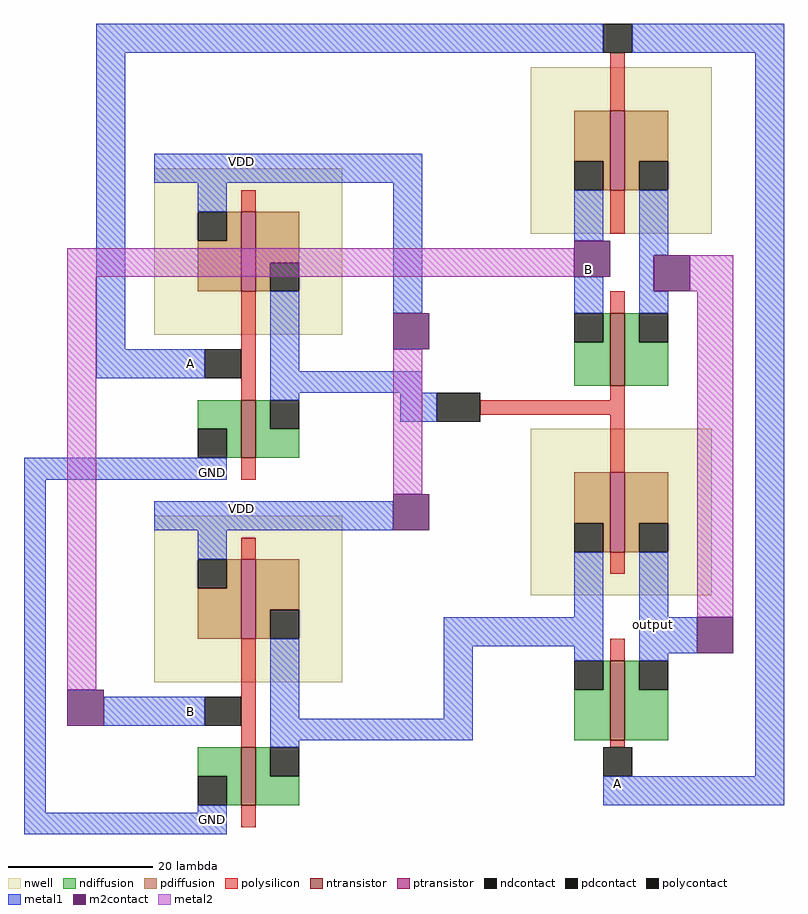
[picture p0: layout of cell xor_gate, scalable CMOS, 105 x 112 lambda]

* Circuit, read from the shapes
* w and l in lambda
.subckt xor_gate A B GND VDD output
M1 n1 B GND VSUBS nfet w=8 l=2
M2 n2 A GND VSUBS nfet w=8 l=2
M3 output A n1 VSUBS nfet w=11 l=2
M4 output n2 B VSUBS nfet w=10 l=2
M5 n1 B VDD n3 pfet w=11 l=2
M6 n2 A VDD n4 pfet w=11 l=2
M7 output n2 n1 n5 pfet w=11 l=2
M8 output A B n6 pfet w=11 l=2
.ends

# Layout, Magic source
magic
tech scmos
<< nwell >>
rect -64 -28 -38 -5
rect -12 -14 13 9
rect -64 -76 -38 -53
rect -12 -64 13 -41
<< ntransistor >>
rect -1 -35 1 -25
rect -52 -45 -50 -37
rect -1 -84 1 -73
rect -52 -93 -50 -85
<< ptransistor >>
rect -1 -8 1 3
rect -52 -22 -50 -11
rect -1 -58 1 -47
rect -52 -70 -50 -59
<< ndiffusion >>
rect -2 -29 -1 -25
rect -6 -35 -1 -29
rect 1 -29 3 -25
rect 1 -35 7 -29
rect -58 -41 -52 -37
rect -54 -45 -52 -41
rect -50 -41 -48 -37
rect -50 -45 -44 -41
rect -2 -77 -1 -73
rect -6 -84 -1 -77
rect 1 -77 3 -73
rect 1 -84 7 -77
rect -58 -89 -52 -85
rect -54 -93 -52 -89
rect -50 -89 -48 -85
rect -50 -93 -44 -89
<< pdiffusion >>
rect -6 -4 -1 3
rect -2 -8 -1 -4
rect 1 -4 7 3
rect 1 -8 3 -4
rect -54 -15 -52 -11
rect -58 -22 -52 -15
rect -50 -18 -44 -11
rect -50 -22 -48 -18
rect -6 -54 -1 -47
rect -2 -58 -1 -54
rect 1 -54 7 -47
rect 1 -58 3 -54
rect -54 -63 -52 -59
rect -58 -70 -52 -63
rect -50 -66 -44 -59
rect -50 -70 -48 -66
<< ndcontact >>
rect -6 -29 -2 -25
rect 3 -29 7 -25
rect -58 -45 -54 -41
rect -48 -41 -44 -37
rect -6 -77 -2 -73
rect 3 -77 7 -73
rect -58 -93 -54 -89
rect -48 -89 -44 -85
<< pdcontact >>
rect -6 -8 -2 -4
rect 3 -8 7 -4
rect -58 -15 -54 -11
rect -48 -22 -44 -18
rect -6 -58 -2 -54
rect 3 -58 7 -54
rect -58 -63 -54 -59
rect -48 -70 -44 -66
<< polysilicon >>
rect -1 3 1 11
rect -52 -11 -50 -8
rect -1 -14 1 -8
rect -52 -37 -50 -22
rect -1 -25 1 -22
rect -1 -37 1 -35
rect -19 -39 1 -37
rect -52 -48 -50 -45
rect -1 -47 1 -39
rect -52 -59 -50 -56
rect -1 -61 1 -58
rect -52 -85 -50 -70
rect -1 -73 1 -70
rect -1 -85 1 -84
rect -52 -96 -50 -93
<< polycontact >>
rect -2 11 2 15
rect -57 -34 -52 -30
rect -25 -40 -19 -36
rect -57 -82 -52 -78
rect -2 -89 2 -85
<< metal1 >>
rect -72 11 -2 15
rect 2 11 23 15
rect -72 -30 -68 11
rect -64 -7 -27 -3
rect -58 -11 -54 -7
rect -72 -34 -57 -30
rect -48 -33 -44 -22
rect -31 -25 -27 -7
rect -6 -15 -2 -8
rect 3 -17 7 -8
rect -6 -25 -2 -20
rect 3 -22 5 -17
rect 3 -25 7 -22
rect -48 -36 -27 -33
rect -48 -37 -44 -36
rect -30 -40 -25 -36
rect -82 -48 -54 -45
rect -82 -94 -79 -48
rect -64 -55 -31 -51
rect -58 -59 -54 -55
rect -6 -67 -2 -58
rect -71 -82 -57 -78
rect -48 -81 -44 -70
rect -24 -71 -2 -67
rect -24 -81 -20 -71
rect -6 -73 -2 -71
rect 3 -67 7 -58
rect 3 -72 11 -67
rect 3 -73 7 -72
rect -48 -84 -20 -81
rect -48 -85 -44 -84
rect 19 -89 23 11
rect -2 -93 23 -89
rect -58 -94 -54 -93
rect -82 -97 -54 -94
<< m2contact >>
rect -6 -20 -1 -15
rect -31 -30 -26 -25
rect 5 -22 10 -17
rect -31 -55 -26 -50
rect -76 -82 -71 -77
rect 11 -72 16 -67
<< metal2 >>
rect -76 -20 -6 -16
rect -76 -77 -72 -20
rect 10 -22 16 -17
rect -31 -50 -27 -30
rect 11 -67 16 -22
<< labels >>
rlabel metal1 -52 -4 -52 -4 1 VDD
rlabel metal1 -56 -47 -56 -47 1 GND
rlabel metal1 -59 -32 -59 -32 3 A
rlabel m2contact -4 -19 -4 -19 1 B
rlabel metal1 5 -68 5 -68 1 output
rlabel metal1 -52 -52 -52 -52 1 VDD
rlabel metal1 -56 -95 -56 -95 1 GND
rlabel metal1 -59 -80 -59 -80 3 B
rlabel metal1 0 -90 0 -90 1 A
<< end >>
